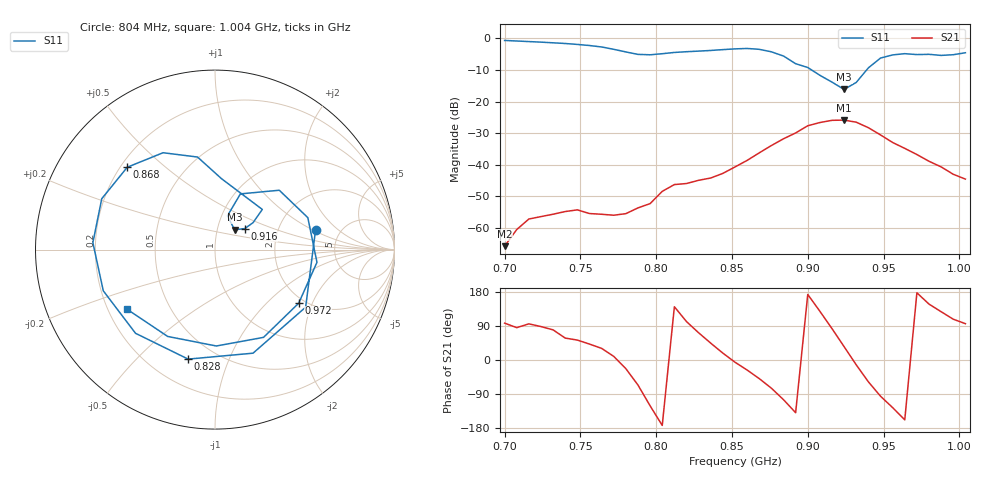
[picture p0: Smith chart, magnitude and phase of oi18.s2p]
# Hz S RI R 50
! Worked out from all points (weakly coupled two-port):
!   39 points, 700 MHz to 1.004 GHz, reference 50 ohm
!   highest |S21| = -25.88 dB at 924 MHz (marker M1); lowest = -65.8 dB at 700 MHz (marker M2)
!   lowest |S11| = -16.2 dB at 924 MHz (marker M3), VSWR 1.37, Z = 60.5 + j13.7 ohm
!   |S11| at or under -10 dB: 902.5 MHz to 938.9 MHz (36.35 MHz wide, 3.95 % of centre)
!   S12 and S22 are empty: the file has one direction only
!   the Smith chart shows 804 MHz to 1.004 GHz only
!   S11 on the Smith chart (normalised r, x): 804 MHz: 3.27, +1.09; 828 MHz: 0.36, -0.72; 868 MHz: 0.23, +0.38; 916 MHz: 1.35, +0.33; 972 MHz: 1.85, -1.60; 1.004 GHz: 0.28, -0.29
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7e8  0.7627 0.5257  -6.51e-05 0.000509  0 0  0 0
7.24e8  0.8299 -0.2648  4.76e-05 0.00151  0 0  0 0
7.4e8  0.4417 -0.7014  0.000967 0.00153  0 0  0 0
7.56e8  -0.1982 -0.7441  0.00125 0.00113  0 0  0 0
7.72e8  -0.6467 -0.1785  0.00156 0.000263  0 0  0 0
7.8e8  -0.5625 0.2349  0.00155 -0.000653  0 0  0 0
7.88e8  -0.2025 0.5197  0.000837 -0.00189  0 0  0 0
8.04e8  0.5606 0.1119  -0.00375 -0.000485  0 0  0 0
8.2e8  0.2119 -0.5771  -0.000992 0.00494  0 0  0 0
8.28e8  -0.1495 -0.6102  0.00177 0.00538  0 0  0 0
8.52e8  -0.6804 0.0387  0.00917 -0.000937  0 0  0 0
8.68e8  -0.4888 0.4589  0.0101 -0.0116  0 0  0 0
8.84e8  -0.0973 0.5157  -0.00653 -0.0249  0 0  0 0
9e8  0.2636 0.2237  -0.041 0.0051  0 0  0 0
9.08e8  0.2122 0.1503  -0.029 0.0363  0 0  0 0
9.16e8  0.1656 0.117  0.00634 0.05  0 0  0 0
9.24e8  0.1091 0.1106  0.0416 0.0292  0 0  0 0
9.4e8  0.1416 0.3104  0.0206 -0.0325  0 0  0 0
9.56e8  0.5172 0.1779  -0.0131 -0.0183  0 0  0 0
9.72e8  0.4662 -0.2987  -0.0145 0.000673  0 0  0 0
9.88e8  0.00731 -0.537  -0.00561 0.00734  0 0  0 0
1.004e9  -0.4895 -0.3326  -0.000603 0.00589  0 0  0 0
